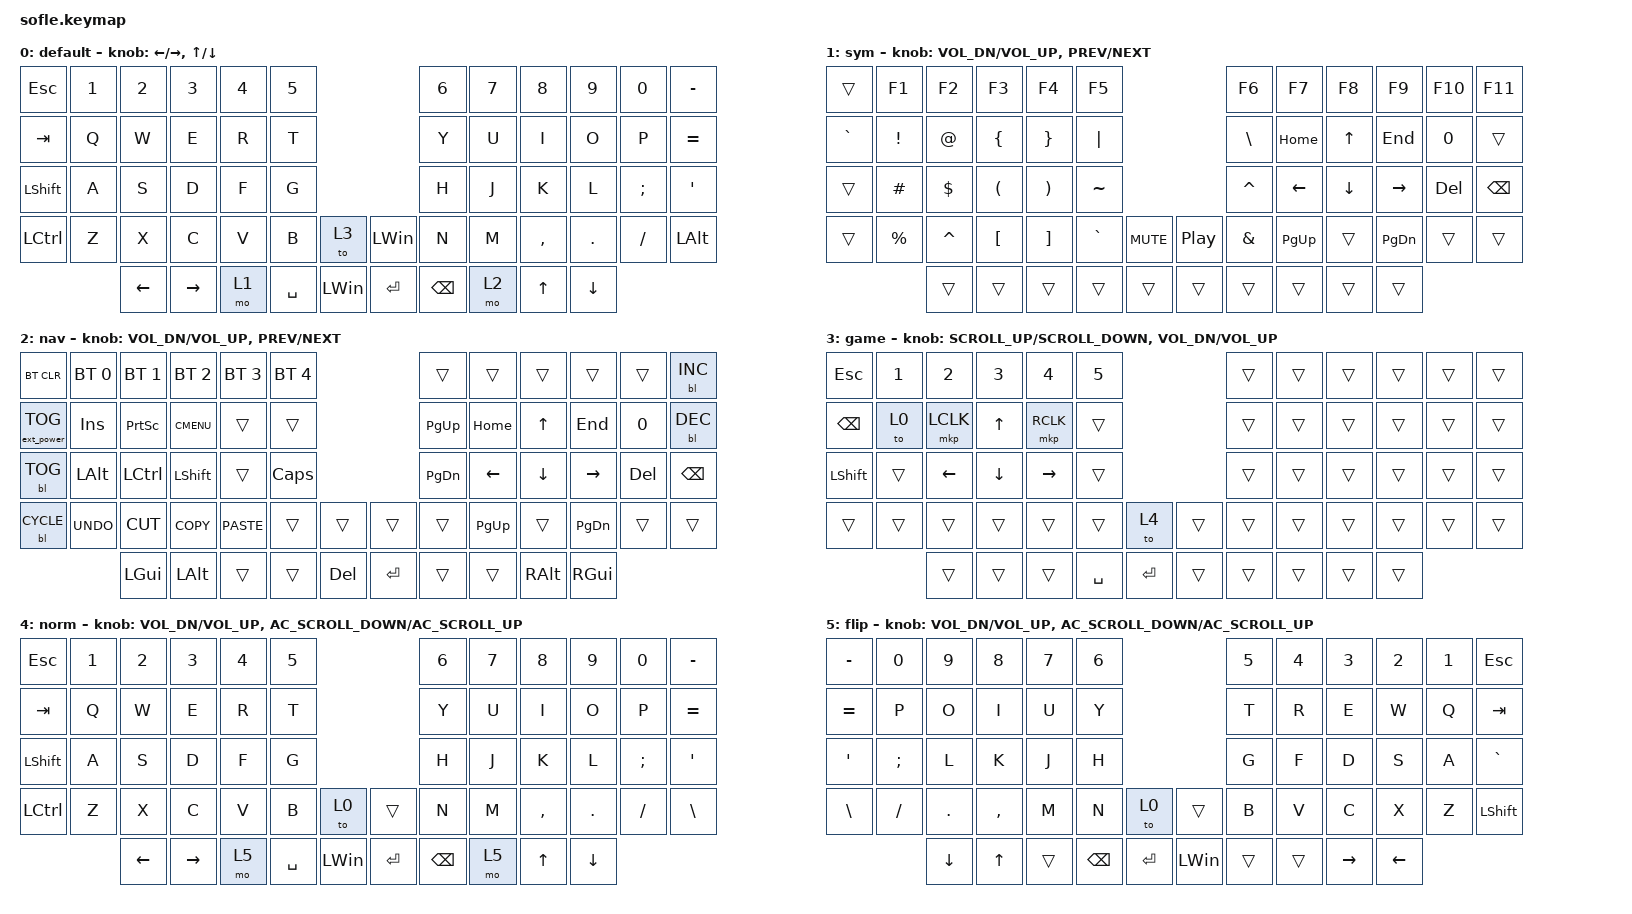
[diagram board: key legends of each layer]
/*
 * Copyright (c) 2020 The ZMK Contributors
 *
 * SPDX-License-Identifier: MIT
 */

#include <behaviors.dtsi>
#include <dt-bindings/zmk/mouse.h>
#include <dt-bindings/zmk/backlight.h>
#include <dt-bindings/zmk/bt.h>
#include <dt-bindings/zmk/ext_power.h>
#include <dt-bindings/zmk/keys.h>

/ {
    // Activate ADJUST layer by pressing raise and lower

    conditional_layers {
        compatible = "zmk,conditional-layers";
    };

    keymap {
        compatible = "zmk,keymap";

        default_layer {
            display-name = "default";
            bindings = <
&kp ESC           &kp N1  &kp N2    &kp N3     &kp N4  &kp N5                                &kp N6         &kp N7  &kp N8     &kp N9    &kp N0    &kp MINUS
&kp TAB           &kp Q   &kp W     &kp E      &kp R   &kp T                                 &kp Y          &kp U   &kp I      &kp O     &kp P     &kp EQUAL
&kp LSHIFT        &kp A   &kp S     &kp D      &kp F   &kp G                                 &kp H          &kp J   &kp K      &kp L     &kp SEMI  &kp SQT
&kp LEFT_CONTROL  &kp Z   &kp X     &kp C      &kp V   &kp B      &to 3           &kp LWIN   &kp N          &kp M   &kp COMMA  &kp DOT   &kp FSLH  &kp LEFT_ALT
                          &kp LEFT  &kp RIGHT  &mo 1   &kp SPACE  &kp LEFT_WIN    &kp ENTER  &kp BACKSPACE  &mo 2   &kp UP     &kp DOWN
            >;

            sensor-bindings = <&inc_dec_kp LEFT RIGHT>, <&inc_dec_kp UP DOWN>;
        };

        symbols {
            display-name = "sym";
            bindings = <
&trans     &kp F1           &kp F2      &kp F3                &kp F4                 &kp F5                                     &kp F6         &kp F7       &kp F8    &kp F9         &kp F10  &kp F11
&kp GRAVE  &kp EXCLAMATION  &kp AT      &kp LBRC              &kp RIGHT_BRACE        &kp PIPE                                   &kp BACKSLASH  &kp HOME     &kp UP    &kp END        &kp N0   &trans
&trans     &kp HASH         &kp DOLLAR  &kp LEFT_PARENTHESIS  &kp RIGHT_PARENTHESIS  &kp TILDE                                  &kp CARET      &kp LEFT     &kp DOWN  &kp RIGHT      &kp DEL  &kp BSPC
&trans     &kp PERCENT      &kp CARET   &kp LEFT_BRACKET      &kp RIGHT_BRACKET      &kp GRAVE  &kp C_MUTE    &kp C_PLAY_PAUSE  &kp AMPS       &kp PAGE_UP  &trans    &kp PAGE_DOWN  &trans   &trans
                            &trans      &trans                &trans                 &trans     &trans        &trans            &trans         &trans       &trans    &trans
            >;

            sensor-bindings =
                <&inc_dec_kp C_VOL_DN C_VOL_UP>,
                <&inc_dec_kp C_PREV C_NEXT>;
        };

        navigation {
            display-name = "nav";
            bindings = <
&bt BT_CLR         &bt BT_SEL 0  &bt BT_SEL 1  &bt BT_SEL 2  &bt BT_SEL 3  &bt BT_SEL 4                      &trans     &trans       &trans    &trans         &trans   &bl BL_INC
&ext_power EP_TOG  &kp INS       &kp PSCRN     &kp K_CMENU   &trans        &trans                            &kp PG_UP  &kp HOME     &kp UP    &kp END        &kp N0   &bl BL_DEC
&bl BL_TOG         &kp LALT      &kp LCTRL     &kp LSHFT     &trans        &kp CLCK                          &kp PG_DN  &kp LEFT     &kp DOWN  &kp RIGHT      &kp DEL  &kp BSPC
&bl BL_CYCLE       &kp K_UNDO    &kp K_CUT     &kp K_COPY    &kp K_PASTE   &trans        &trans     &trans   &trans     &kp PAGE_UP  &trans    &kp PAGE_DOWN  &trans   &trans
                                 &kp LGUI      &kp LALT      &trans        &trans        &kp DEL    &kp RET  &trans     &trans       &kp RALT  &kp RGUI
            >;

            sensor-bindings =
                <&inc_dec_kp C_VOL_DN C_VOL_UP>,
                <&inc_dec_kp C_PREV C_NEXT>;
        };

        layer_3 {
            display-name = "game";
            bindings = <
&kp ESC        &kp N1  &kp N2     &kp N3    &kp N4     &kp N5                        &trans  &trans  &trans  &trans  &trans  &trans
&kp BACKSPACE  &to 0   &mkp LCLK  &kp UP    &mkp RCLK  &trans                        &trans  &trans  &trans  &trans  &trans  &trans
&kp LSHFT      &trans  &kp LEFT   &kp DOWN  &kp RIGHT  &trans                        &trans  &trans  &trans  &trans  &trans  &trans
&trans         &trans  &trans     &trans    &trans     &trans     &to 4      &trans  &trans  &trans  &trans  &trans  &trans  &trans
                       &trans     &trans    &trans     &kp SPACE  &kp RET    &trans  &trans  &trans  &trans  &trans
            >;

            sensor-bindings =
                <&inc_dec_kp K_SCROLL_UP K_SCROLL_DOWN>,
                <&inc_dec_kp C_VOL_DN C_VOL_UP>;
        };

        normal {
            display-name = "norm";
            bindings = <
&kp ESC    &kp N1  &kp N2    &kp N3     &kp N4  &kp N5                                &kp N6         &kp N7  &kp N8     &kp N9    &kp N0    &kp MINUS
&kp TAB    &kp Q   &kp W     &kp E      &kp R   &kp T                                 &kp Y          &kp U   &kp I      &kp O     &kp P     &kp EQUAL
&kp LSHFT  &kp A   &kp S     &kp D      &kp F   &kp G                                 &kp H          &kp J   &kp K      &kp L     &kp SEMI  &kp SQT
&kp LCTRL  &kp Z   &kp X     &kp C      &kp V   &kp B      &to 0           &trans     &kp N          &kp M   &kp COMMA  &kp DOT   &kp FSLH  &kp BSLH
                   &kp LEFT  &kp RIGHT  &mo 5   &kp SPACE  &kp LEFT_WIN    &kp ENTER  &kp BACKSPACE  &mo 5   &kp UP     &kp DOWN
            >;

            sensor-bindings =
                <&inc_dec_kp C_VOL_DN C_VOL_UP>,
                <&inc_dec_kp C_AC_SCROLL_DOWN C_AC_SCROLL_UP>;
        };

        flipped {
            display-name = "flip";
            bindings = <
&kp MINUS  &kp N0    &kp N9    &kp N8     &kp N7  &kp N6                                    &kp N5  &kp N4  &kp N3     &kp N2    &kp N1  &kp ESC
&kp EQUAL  &kp P     &kp O     &kp I      &kp U   &kp Y                                     &kp T   &kp R   &kp E      &kp W     &kp Q   &kp TAB
&kp SQT    &kp SEMI  &kp L     &kp K      &kp J   &kp H                                     &kp G   &kp F   &kp D      &kp S     &kp A   &kp GRAVE
&kp BSLH   &kp FSLH  &kp DOT   &kp COMMA  &kp M   &kp N          &to 0        &trans        &kp B   &kp V   &kp C      &kp X     &kp Z   &kp LSHFT
                     &kp DOWN  &kp UP     &trans  &kp BACKSPACE  &kp ENTER    &kp LEFT_WIN  &trans  &trans  &kp RIGHT  &kp LEFT
            >;

            sensor-bindings =
                <&inc_dec_kp C_VOL_DN C_VOL_UP>,
                <&inc_dec_kp C_AC_SCROLL_DOWN C_AC_SCROLL_UP>;
        };
    };
};
